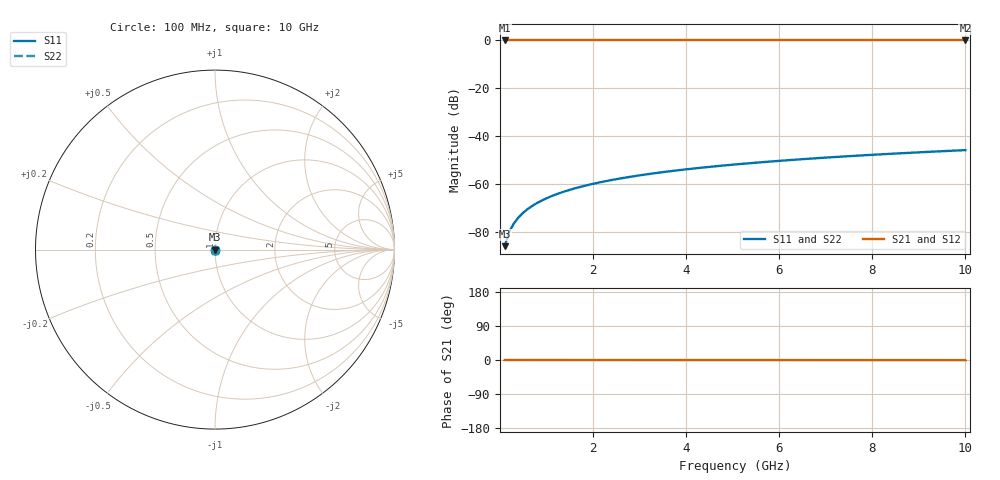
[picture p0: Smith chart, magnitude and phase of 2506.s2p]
# Hz S RI R 50.00
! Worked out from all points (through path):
!   100 points, 100 MHz to 10 GHz, reference 50 ohm
!   highest |S21| = 0.00 dB at 100 MHz (marker M1); lowest = 0.0 dB at 10 GHz (marker M2)
!   lowest |S11| = -85.9 dB at 100 MHz (marker M3), VSWR 1.00, Z = 50 - j0.00505 ohm
!   |S11| at or under -10 dB: start of sweep to end of sweep
!   |S22| runs from -85.9 to -45.8 dB; largest |S21 - S12| = 0
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1e8  5.2e-07 -5.05e-05  1 -6.1e-05  1 -6.1e-05  5.2e-07 -5.05e-05
2e8  4.64e-07 -0.000101  1 -0.000122  1 -0.000122  4.64e-07 -0.000101
3e8  4e-07 -0.000152  1 -0.000183  1 -0.000183  4e-07 -0.000152
4e8  3.28e-07 -0.000202  1 -0.000244  1 -0.000244  3.28e-07 -0.000202
5e8  2.5e-07 -0.000253  1 -0.000305  1 -0.000305  2.5e-07 -0.000253
6e8  1.66e-07 -0.000303  1 -0.000366  1 -0.000366  1.66e-07 -0.000303
7e8  7.46e-08 -0.000354  1 -0.000427  1 -0.000427  7.46e-08 -0.000354
8e8  -2.29e-08 -0.000404  1 -0.000488  1 -0.000488  -2.29e-08 -0.000404
1e9  -2.37e-07 -0.000506  1 -0.00061  1 -0.00061  -2.37e-07 -0.000506
1.2e9  -4.77e-07 -0.000607  1 -0.000732  1 -0.000732  -4.77e-07 -0.000607
1.5e9  -8.84e-07 -0.000759  1 -0.000916  1 -0.000916  -8.84e-07 -0.000759
1.8e9  -1.35e-06 -0.000911  1 -0.0011  1 -0.0011  -1.35e-06 -0.000911
2.1e9  -1.87e-06 -0.00106  1 -0.00128  1 -0.00128  -1.87e-06 -0.00106
2.5e9  -2.65e-06 -0.00127  1 -0.00153  1 -0.00153  -2.65e-06 -0.00127
2.9e9  -3.53e-06 -0.00147  1 -0.00177  1 -0.00177  -3.53e-06 -0.00147
3.4e9  -4.78e-06 -0.00173  1 -0.00208  1 -0.00208  -4.78e-06 -0.00173
4.2e9  -7.11e-06 -0.00213  1 -0.00258  1 -0.00258  -7.11e-06 -0.00213
5.1e9  -1.02e-05 -0.0026  1 -0.00313  1 -0.00313  -1.02e-05 -0.0026
5.9e9  -1.34e-05 -0.00301  1 -0.00363  1 -0.00363  -1.34e-05 -0.00301
6.7e9  -1.71e-05 -0.00342  1 -0.00413  1 -0.00413  -1.71e-05 -0.00342
8.4e9  -2.62e-05 -0.00429  1 -0.00519  1 -0.00519  -2.62e-05 -0.00429
1e10  -3.64e-05 -0.00512  1 -0.00619  1 -0.00619  -3.64e-05 -0.00512
